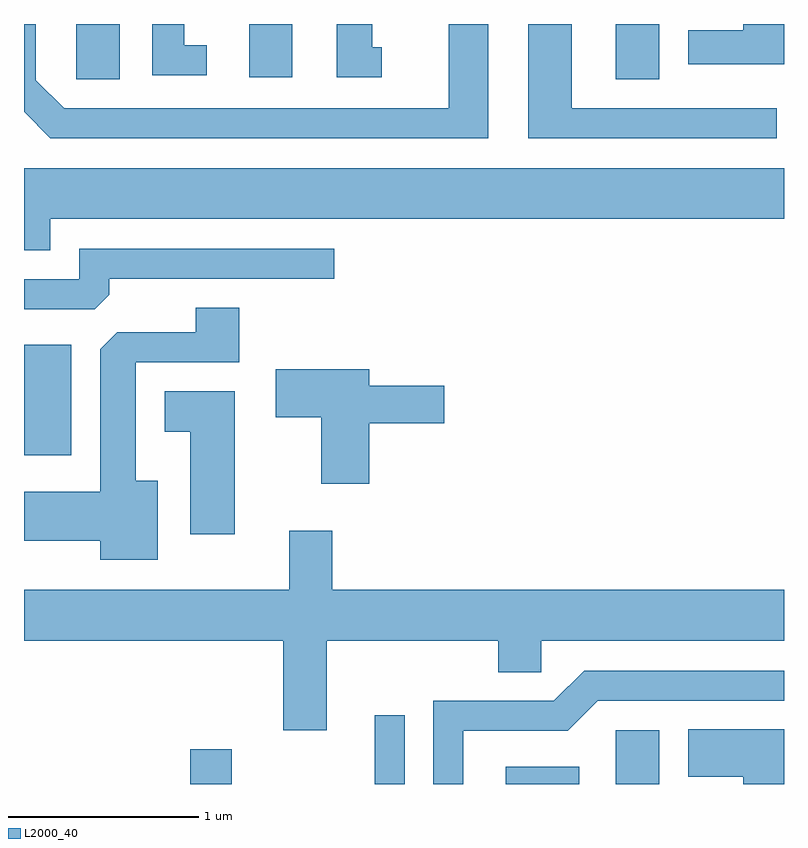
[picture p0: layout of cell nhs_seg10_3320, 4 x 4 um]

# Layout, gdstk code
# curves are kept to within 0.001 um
import gdstk
lib = gdstk.Library(unit=1e-6, precision=1e-09)
def R(c, l, rs):  # rectangles x0, y0, x1, y1
    for r in rs: c.add(gdstk.rectangle(r[:2], r[2:], *l))
def P(c, l, *ps):  # polygons
    for p in ps: c.add(gdstk.Polygon(p, *l))
L2000_40 = (2000, 40)

nhs_seg10_3320 = lib.new_cell('nhs_seg10_3320')
R(nhs_seg10_3320, L2000_40, [(284.486,2086.522,284.704,2086.704), (285.456,2086.522,285.614,2086.883), (286.146,2086.522,286.534,2086.614), (286.726,2086.522,286.954,2086.804), (283.611,2088.251,283.859,2088.834), (283.886,2090.231,284.114,2090.522), (286.726,2090.231,286.954,2090.522), (284.796,2090.241,285.024,2090.522)])
P(nhs_seg10_3320, L2000_40, [(284.573,2090.409),(284.454,2090.409),(284.454,2090.522),(284.286,2090.522),(284.286,2090.251),(284.573,2090.251)],
  [(287.611,2090.522),(287.396,2090.522),(287.396,2090.489),(287.106,2090.489),(287.106,2090.311),(287.611,2090.311)],
  [(285.493,2090.399),(285.444,2090.399),(285.444,2090.522),(285.256,2090.522),(285.256,2090.241),(285.493,2090.241)],
  [(287.573,2090.079),(286.494,2090.079),(286.494,2090.522),(286.266,2090.522),(286.266,2089.921),(287.573,2089.921)],
  [(286.054,2090.522),(285.846,2090.522),(285.846,2090.079),(283.822,2090.079),(283.674,2090.227),(283.674,2090.522),(283.611,2090.522),(283.611,2090.059),(283.749,2089.921),(286.054,2089.921)],
  [(283.749,2089.496),(287.611,2089.496),(287.611,2089.764),(283.611,2089.764),(283.611,2089.331),(283.749,2089.331)],
  [(284.013,2089.05),(284.059,2089.097),(284.059,2089.181),(285.243,2089.181),(285.243,2089.339),(283.901,2089.339),(283.901,2089.179),(283.611,2089.179),(283.611,2089.021),(283.984,2089.021)],
  [(284.314,2088.119),(284.199,2088.119),(284.199,2088.741),(284.744,2088.741),(284.744,2089.029),(284.516,2089.029),(284.516,2088.899),(284.102,2088.899),(284.011,2088.809),(284.011,2088.059),(283.611,2088.059),(283.611,2087.801),(284.011,2087.801),(284.011,2087.701),(284.314,2087.701)],
  [(285.429,2088.421),(285.824,2088.421),(285.824,2088.619),(285.429,2088.619),(285.429,2088.704),(284.936,2088.704),(284.936,2088.451),(285.176,2088.451),(285.176,2088.101),(285.429,2088.101)],
  [(284.719,2088.589),(284.351,2088.589),(284.351,2088.376),(284.486,2088.376),(284.486,2087.836),(284.719,2087.836)],
  [(285.204,2087.276),(286.106,2087.276),(286.106,2087.111),(286.334,2087.111),(286.334,2087.276),(287.611,2087.276),(287.611,2087.544),(285.234,2087.544),(285.234,2087.854),(285.006,2087.854),(285.006,2087.544),(283.611,2087.544),(283.611,2087.276),(284.976,2087.276),(284.976,2086.806),(285.204,2086.806)],
  [(285.924,2086.801),(286.472,2086.801),(286.632,2086.961),(287.611,2086.961),(287.611,2087.119),(286.559,2087.119),(286.399,2086.959),(285.766,2086.959),(285.766,2086.522),(285.924,2086.522)],
  [(287.611,2086.809),(287.106,2086.809),(287.106,2086.561),(287.396,2086.561),(287.396,2086.522),(287.611,2086.522)])

lib.write_gds('nhs_seg10_3320.gds')
